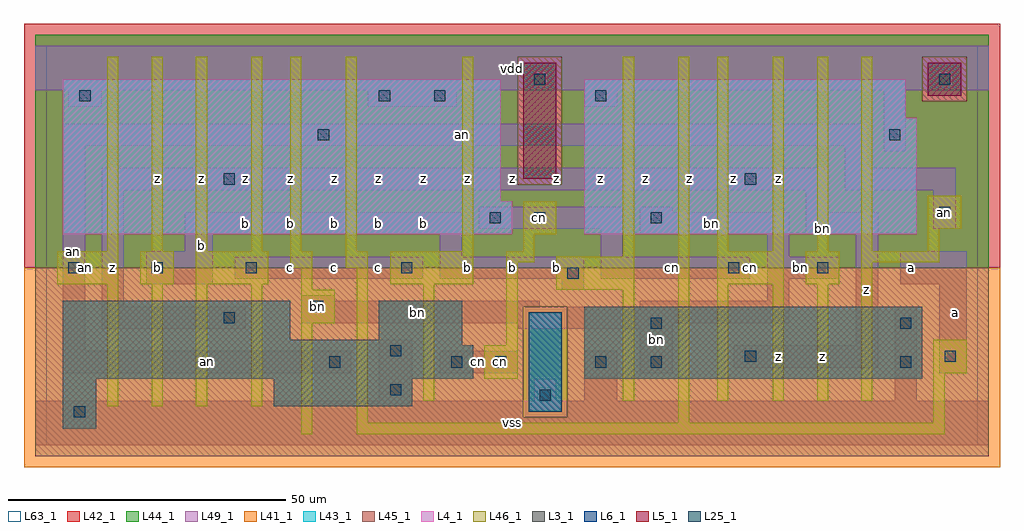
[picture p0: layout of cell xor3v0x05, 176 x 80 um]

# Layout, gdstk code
import gdstk
lib = gdstk.Library(unit=1e-6, precision=1e-09)
def R(c, l, rs):  # rectangles x0, y0, x1, y1
    for r in rs: c.add(gdstk.rectangle(r[:2], r[2:], *l))
def A(c, l, x, y, w, h, nx, ny, dx, dy):  # array of equal rectangles
    R(c, l, [(x+i*dx, y+j*dy, x+i*dx+w, y+j*dy+h) for i in range(nx) for j in range(ny)])
L3_1 = (3, 1)
L4_1 = (4, 1)
L5_1 = (5, 1)
L6_1 = (6, 1)
L25_1 = (25, 1)
L41_1 = (41, 1)
L42_1 = (42, 1)
L43_1 = (43, 1)
L44_1 = (44, 1)
L45_1 = (45, 1)
L46_1 = (46, 1)
L49_1 = (49, 1)
L63_1 = (63, 1)

xor3v0x05 = lib.new_cell('xor3v0x05')
R(xor3v0x05, L3_1, [(3,3,9,12), (41,7,66,12), (3,12,77,18), (97,12,158,25), (3,18,75,19), (3,19,44,26), (60,19,75,26)])
R(xor3v0x05, L4_1, [(3,38,84,44), (97,38,157,59), (3,44,82,66), (97,59,155,66)])
R(xor3v0x05, L5_1, [(86,48,92,69), (159,63,165,69)])
R(xor3v0x05, L6_1, [(87,6,93,24), (87,6,93,24)])
R(xor3v0x05, L25_1, [(5,5,7,7), (89,8,91,10), (62,9,64,11), (51,14,53,16), (73,14,75,16), (81,14,83,16), (99,14,101,16), (109,14,111,16), (154,14,156,16), (126,15,128,17), (162,15,164,17), (62,16,64,18), (109,21,111,23), (154,21,156,23), (32,22,34,24), (48,24,50,26), (94,30,96,32), (4,31,6,33), (19,31,21,33), (36,31,38,33), (64,31,66,33), (123,31,125,33), (139,31,141,33), (80,40,82,42), (88,40,90,42), (109,40,111,42), (161,41,163,43), (32,47,34,49), (126,47,128,49), (49,55,51,57), (152,55,154,57), (6,62,8,64), (60,62,62,64), (70,62,72,64), (99,62,101,64), (88,65,90,67), (161,65,163,67)])
R(xor3v0x05, L41_1, [(-4,-4,172,32)])
R(xor3v0x05, L42_1, [(-4,32,172,76)])
R(xor3v0x05, L43_1, [(3,3,9,12), (87,6,93,24), (41,7,66,12), (3,12,77,18), (97,12,158,25), (3,18,75,19), (3,19,44,26), (60,19,75,26), (3,38,84,44), (97,38,157,59), (3,44,82,66), (86,48,92,69), (97,59,155,66), (159,63,165,69)])
R(xor3v0x05, L44_1, [(86,5,94,25), (-2,32,170,47), (-2,47,85,70), (93,47,170,62), (93,62,158,70), (166,62,170,70), (-2,70,170,74)])
R(xor3v0x05, L45_1, [(-2,-2,170,5), (-2,5,86,25), (94,5,170,25), (-2,25,170,32), (85,47,93,70), (158,62,166,70)])
A(xor3v0x05, L46_1, 11, 7, 2, 22, 3, 1, 8, 0)
A(xor3v0x05, L46_1, 11, 35, 2, 35, 3, 1, 8, 0)
A(xor3v0x05, L46_1, 131, 35, 2, 35, 3, 1, 8, 0)
R(xor3v0x05, L46_1, [(46,2,48,22), (56,2,162,4), (56,4,58,32), (114,4,116,70), (160,4,162,13), (37,7,39,29), (68,8,70,29), (104,8,106,28), (121,8,123,29), (131,8,133,29), (139,8,141,29), (147,8,149,33), (79,12,85,18), (160,13,166,19), (83,18,85,33), (46,22,52,28), (46,28,48,32), (92,28,106,34), (2,29,13,35), (17,29,23,35), (27,29,40,35), (62,29,77,35), (121,29,133,35), (137,29,143,35), (44,32,48,35), (54,32,58,35), (83,33,88,35), (147,33,161,35), (104,34,106,70), (37,35,39,70), (44,35,46,70), (54,35,56,70), (75,35,77,70), (86,35,88,38), (121,35,123,70), (159,35,161,39), (86,38,92,44), (159,39,165,45)])
R(xor3v0x05, L49_1, [(-2,0,170,8), (60,8,66,19), (88,8,92,12), (97,8,103,17), (153,8,157,25), (3,13,55,17), (71,13,85,17), (107,13,113,21), (161,13,166,29), (124,14,150,18), (3,17,7,54), (146,18,150,38), (10,21,36,25), (85,21,113,22), (46,22,134,25), (10,25,14,46), (46,25,89,26), (107,25,134,26), (46,26,52,27), (130,26,134,30), (93,28,97,30), (18,29,30,35), (154,29,166,35), (34,30,68,34), (71,30,97,34), (100,30,127,34), (130,30,143,34), (71,34,75,38), (100,34,104,39), (130,34,134,38), (25,35,30,38), (25,38,75,42), (107,38,134,42), (137,38,150,42), (78,39,104,43), (160,39,164,46), (107,42,113,43), (137,42,141,46), (10,46,141,50), (144,46,164,50), (144,50,148,54), (151,53,155,64), (3,54,148,58), (4,61,10,64), (58,61,74,64), (97,61,103,64), (-2,64,170,72)])
R(xor3v0x05, L63_1, [(0,0,168,72)])
xor3v0x05.add(gdstk.Label('an', (7,32), layer=46, texttype=1))
xor3v0x05.add(gdstk.Label('bn', (49,25), layer=49, texttype=1))
xor3v0x05.add(gdstk.Label('cn', (82,15), layer=49, texttype=1))
xor3v0x05.add(gdstk.Label('cn', (89,41), layer=49, texttype=1))
xor3v0x05.add(gdstk.Label('cn', (127,32), layer=46, texttype=1))
xor3v0x05.add(gdstk.Label('an', (162,42), layer=49, texttype=1))
xor3v0x05.add(gdstk.Label('bn', (140,39), layer=46, texttype=1))
xor3v0x05.add(gdstk.Label('z', (12,32), layer=49, texttype=1))
xor3v0x05.add(gdstk.Label('b', (20,32), layer=49, texttype=1))
xor3v0x05.add(gdstk.Label('b', (28,36), layer=49, texttype=1))
xor3v0x05.add(gdstk.Label('z', (20,48), layer=49, texttype=1))
xor3v0x05.add(gdstk.Label('z', (28,48), layer=49, texttype=1))
xor3v0x05.add(gdstk.Label('an', (5,35), layer=49, texttype=1))
xor3v0x05.add(gdstk.Label('an', (29,15), layer=49, texttype=1))
xor3v0x05.add(gdstk.Label('c', (44,32), layer=49, texttype=1))
xor3v0x05.add(gdstk.Label('c', (52,32), layer=49, texttype=1))
xor3v0x05.add(gdstk.Label('c', (60,32), layer=49, texttype=1))
xor3v0x05.add(gdstk.Label('b', (36,40), layer=49, texttype=1))
xor3v0x05.add(gdstk.Label('b', (44,40), layer=49, texttype=1))
xor3v0x05.add(gdstk.Label('b', (52,40), layer=49, texttype=1))
xor3v0x05.add(gdstk.Label('b', (60,40), layer=49, texttype=1))
xor3v0x05.add(gdstk.Label('z', (36,48), layer=49, texttype=1))
xor3v0x05.add(gdstk.Label('z', (44,48), layer=49, texttype=1))
xor3v0x05.add(gdstk.Label('z', (52,48), layer=49, texttype=1))
xor3v0x05.add(gdstk.Label('z', (60,48), layer=49, texttype=1))
xor3v0x05.add(gdstk.Label('vss', (84,4), layer=49, texttype=1))
xor3v0x05.add(gdstk.Label('cn', (78,15), layer=49, texttype=1))
xor3v0x05.add(gdstk.Label('bn', (67,24), layer=49, texttype=1))
xor3v0x05.add(gdstk.Label('b', (76,32), layer=49, texttype=1))
xor3v0x05.add(gdstk.Label('b', (84,32), layer=49, texttype=1))
xor3v0x05.add(gdstk.Label('b', (92,32), layer=49, texttype=1))
xor3v0x05.add(gdstk.Label('b', (68,40), layer=49, texttype=1))
xor3v0x05.add(gdstk.Label('z', (68,48), layer=49, texttype=1))
xor3v0x05.add(gdstk.Label('z', (76,48), layer=49, texttype=1))
xor3v0x05.add(gdstk.Label('z', (84,48), layer=49, texttype=1))
xor3v0x05.add(gdstk.Label('z', (92,48), layer=49, texttype=1))
xor3v0x05.add(gdstk.Label('vdd', (84,68), layer=49, texttype=1))
xor3v0x05.add(gdstk.Label('z', (132,16), layer=49, texttype=1))
xor3v0x05.add(gdstk.Label('bn', (110,19), layer=49, texttype=1))
xor3v0x05.add(gdstk.Label('cn', (113,32), layer=49, texttype=1))
xor3v0x05.add(gdstk.Label('bn', (120,40), layer=49, texttype=1))
xor3v0x05.add(gdstk.Label('cn', (91,41), layer=49, texttype=1))
xor3v0x05.add(gdstk.Label('z', (100,48), layer=49, texttype=1))
xor3v0x05.add(gdstk.Label('z', (108,48), layer=49, texttype=1))
xor3v0x05.add(gdstk.Label('z', (116,48), layer=49, texttype=1))
xor3v0x05.add(gdstk.Label('z', (124,48), layer=49, texttype=1))
xor3v0x05.add(gdstk.Label('z', (132,48), layer=49, texttype=1))
xor3v0x05.add(gdstk.Label('z', (140,16), layer=49, texttype=1))
xor3v0x05.add(gdstk.Label('a', (164,24), layer=49, texttype=1))
xor3v0x05.add(gdstk.Label('z', (148,28), layer=49, texttype=1))
xor3v0x05.add(gdstk.Label('a', (156,32), layer=49, texttype=1))
xor3v0x05.add(gdstk.Label('bn', (136,32), layer=49, texttype=1))
xor3v0x05.add(gdstk.Label('z', (140,40), layer=49, texttype=1))
xor3v0x05.add(gdstk.Label('an', (162,44), layer=49, texttype=1))
xor3v0x05.add(gdstk.Label('an', (75,56), layer=49, texttype=1))

lib.write_gds('xor3v0x05.gds')
